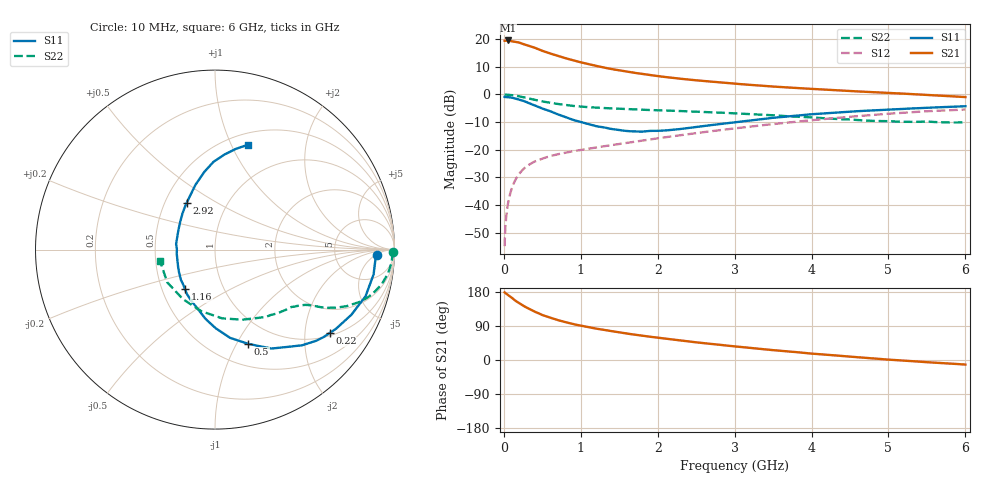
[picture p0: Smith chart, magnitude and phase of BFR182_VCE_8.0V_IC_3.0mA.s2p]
! Infineon Technologies  Discrete & RF Semiconductors
! BFR182
! VCE =  8.0 V,  IC =  3.0 mA
! Common Emitter S-Parameters:  Nov 2015
# GHz  S  MA  R  50
!  f  S11  S21  S12  S22
! GHz  MAG  ANG  MAG  ANG  MAG  ANG  MAG  ANG
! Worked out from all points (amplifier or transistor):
!   210 points, 10 MHz to 6 GHz, reference 50 ohm
!   highest |S21| = 19.5 dB at 50 MHz (marker M1)
!   |S21| within 3 dB of that: start of sweep to 433.5 MHz
!   unconditionally stable (mu >= 1): 1.337 GHz to 3.094 GHz
!   at 185 MHz: K = 0.23, MSG = 24.1 dB, |S12| = -29.3 dB
!   at 1.52 GHz: K = 1.04, MAG = 12.0 dB, |S12| = -17.8 dB
!   at 6 GHz: K = 0.88, MSG = 2.2 dB, |S12| = -5.5 dB
!   S11 on the Smith chart (normalised r, x): 10 MHz: 18, -5; 220 MHz: 1.08, -2.68; 500 MHz: 0.73, -1.12; 1.16 GHz: 0.65, -0.31; 2.92 GHz: 0.64, +0.37; 6 GHz: 0.62, +1.16
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0.01  0.9004 -1.8  9.329 178.4  0.0018 92.3  0.9932 -0.8
0.025  0.8947 -4.4  9.348 175.8  0.005 86.1  0.9884 -2.0
0.05  0.8943 -8.9  9.463 172.1  0.0098 85.8  0.9869 -4.0
0.09  0.8798 -15.5  9.226 166.4  0.0175 81.8  0.976 -7.0
0.15  0.8423 -25.5  8.983 156.4  0.0285 75.3  0.9505 -11.5
0.22  0.7898 -36.1  8.443 147.5  0.0396 70.2  0.9098 -15.7
0.3  0.7208 -47.7  7.764 137.6  0.0507 65.6  0.8618 -19.6
0.38  0.6492 -57.5  7.136 129.8  0.059 61.9  0.8114 -22.4
0.4  0.6347 -60.3  7.002 127.7  0.0611 61.1  0.7991 -23.2
0.5  0.5565 -70.6  6.15 118.7  0.0688 58.0  0.7462 -25.7
0.6  0.4987 -80.3  5.516 111.8  0.0766 56.1  0.7065 -27.3
0.7  0.4375 -89.6  4.991 105.4  0.0826 55.0  0.6727 -28.5
0.9  0.3467 -105.4  4.138 94.7  0.0939 54.5  0.62 -30.1
1.02  0.3114 -115.8  3.752 89.9  0.0998 54.6  0.5992 -31.0
1.16  0.276 -127.3  3.38 84.4  0.1076 55.1  0.5818 -32.1
1.6  0.2179 -163.6  2.574 69.7  0.1331 56.7  0.5437 -35.8
2.02  0.22 164.8  2.127 58.3  0.1621 57.6  0.517 -40.6
2.92  0.3028 121.6  1.597 37.6  0.2357 55.7  0.4606 -55.0
3.1  0.3238 116.3  1.526 34.0  0.2523 54.6  0.4463 -58.7
4.1  0.4477 96.2  1.236 15.4  0.3518 46.6  0.3754 -87.5
5.1  0.5406 82.9  1.051 -0.3  0.4568 34.6  0.3233 -127.6
6  0.6117 72.7  0.896 -12.1  0.5338 21.5  0.3123 -167.9
